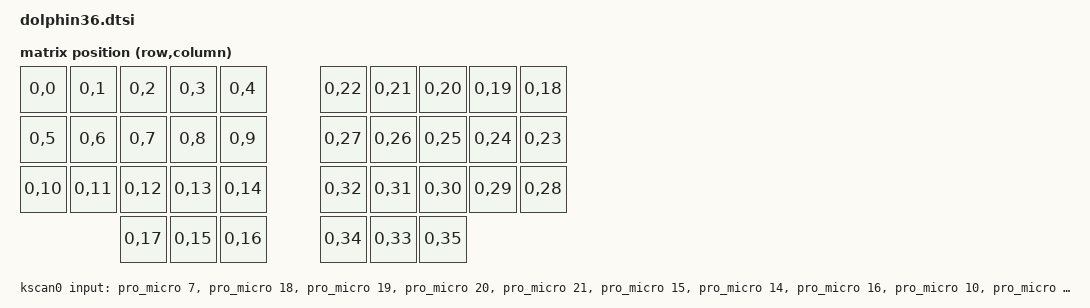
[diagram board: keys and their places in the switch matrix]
/*
 * Dolphin36 — 基于 Ferris Sweep 加宽拇指区的自制 36 键分体键盘
 *
 * 与 Sweep(cradio, 34 键) 的唯一硬件区别：每侧拇指区多一颗键（SW18），
 * 即 3x5+3 的 Corne 黄金布局。SW1~SW17 的 pin 分配与原版 cradio 完全一致
 * （注意：Dolphin1 的 Q/B 两键 pin 6 与 pin 7 是互换的，本板不跟随 Dolphin1），
 * 新增的 SW18 占用 pro_micro 仅剩的 pin 0（D0/RX, P0.08）。
 *
 * ⚠ pro_micro 排针共 18 个可用 GPIO（0~10 + 14,15,16 + 18~21，无 11/12/13/17），
 *   36 键（每侧 18 键）直连扫描正好用满，没有余量。
 *
 * 拇指区物理位置 ↔ SW 编号 ↔ keymap position（左手，从外到内）：
 *   SW18 → pos 30 (ESC / FUN)      ← 相对 34 键新增的那颗键（最外侧）
 *   SW16 → pos 31 (SPACE / NAV)    ← 与 cradio 的 Thumb 1 相同
 *   SW17 → pos 32 (TAB / NUM)      ← 与 cradio 的 Thumb 2 相同
 * 右手镜像（从内到外）：SW17 → pos 33 (ENTER/SYM), SW16 → pos 34 (BSPC/MOU),
 *   SW18 → pos 35 (LSHFT/MEDIA)
 *
 * SPDX-License-Identifier: MIT
 */

#include <dt-bindings/zmk/matrix_transform.h>
#include <layouts/foostan/corne/5column.dtsi>

/ {
    chosen {
        zmk,kscan = &kscan0;
        zmk,physical-layout = &foostan_corne_5col_layout;
    };

    default_transform: keymap_transform_0 {
        compatible = "zmk,matrix-transform";
        columns = <36>;
        rows = <1>;
        map = <
        RC(0,0)  RC(0,1)  RC(0,2)  RC(0,3)  RC(0,4)    RC(0,22) RC(0,21) RC(0,20) RC(0,19) RC(0,18)
        RC(0,5)  RC(0,6)  RC(0,7)  RC(0,8)  RC(0,9)    RC(0,27) RC(0,26) RC(0,25) RC(0,24) RC(0,23)
        RC(0,10) RC(0,11) RC(0,12) RC(0,13) RC(0,14)   RC(0,32) RC(0,31) RC(0,30) RC(0,29) RC(0,28)
                 RC(0,17) RC(0,15) RC(0,16)            RC(0,34) RC(0,33) RC(0,35)
        >;
    };

    kscan0: kscan {
        compatible = "zmk,kscan-gpio-direct";
        wakeup-source;

        input-gpios
        // 第一排 (Top Row: Q W E R T)
        = <&pro_micro  7 (GPIO_ACTIVE_LOW | GPIO_PULL_UP)> // SW1  → Q
        , <&pro_micro 18 (GPIO_ACTIVE_LOW | GPIO_PULL_UP)> // SW2  → W
        , <&pro_micro 19 (GPIO_ACTIVE_LOW | GPIO_PULL_UP)> // SW3  → E
        , <&pro_micro 20 (GPIO_ACTIVE_LOW | GPIO_PULL_UP)> // SW4  → R
        , <&pro_micro 21 (GPIO_ACTIVE_LOW | GPIO_PULL_UP)> // SW5  → T

        // 第二排 (Middle Row: A S D F G)
        , <&pro_micro 15 (GPIO_ACTIVE_LOW | GPIO_PULL_UP)> // SW6  → A
        , <&pro_micro 14 (GPIO_ACTIVE_LOW | GPIO_PULL_UP)> // SW7  → S
        , <&pro_micro 16 (GPIO_ACTIVE_LOW | GPIO_PULL_UP)> // SW8  → D
        , <&pro_micro 10 (GPIO_ACTIVE_LOW | GPIO_PULL_UP)> // SW9  → F
        , <&pro_micro  1 (GPIO_ACTIVE_LOW | GPIO_PULL_UP)> // SW10 → G

        // 第三排 (Bottom Row: Z X C V B)
        , <&pro_micro  2 (GPIO_ACTIVE_LOW | GPIO_PULL_UP)> // SW11 → Z
        , <&pro_micro  3 (GPIO_ACTIVE_LOW | GPIO_PULL_UP)> // SW12 → X
        , <&pro_micro  4 (GPIO_ACTIVE_LOW | GPIO_PULL_UP)> // SW13 → C
        , <&pro_micro  5 (GPIO_ACTIVE_LOW | GPIO_PULL_UP)> // SW14 → V
        , <&pro_micro  6 (GPIO_ACTIVE_LOW | GPIO_PULL_UP)> // SW15 → B

        // 拇指键簇 (Thumb Cluster, 每侧 3 键)
        , <&pro_micro  8 (GPIO_ACTIVE_LOW | GPIO_PULL_UP)> // SW16 → Thumb 中 (SPACE / BSPC)
        , <&pro_micro  9 (GPIO_ACTIVE_LOW | GPIO_PULL_UP)> // SW17 → Thumb 内 (TAB / ENTER)
        , <&pro_micro  0 (GPIO_ACTIVE_LOW | GPIO_PULL_UP)> // SW18 → Thumb 外 (ESC / LSHFT) ← 新增
        ;
    };

};

&foostan_corne_5col_layout {
    transform = <&default_transform>;
    kscan = <&kscan0>;
};
